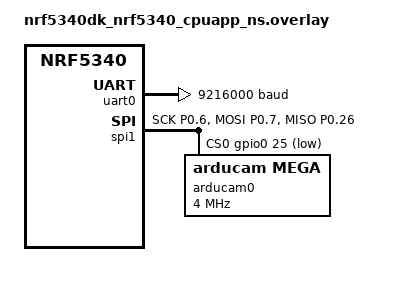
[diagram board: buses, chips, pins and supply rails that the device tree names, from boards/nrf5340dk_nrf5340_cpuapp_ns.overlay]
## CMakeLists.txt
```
cmake_minimum_required(VERSION 3.20.0)
# Add before find_package(Zephyr ...)
list(APPEND ZEPHYR_EXTRA_MODULES C:/ncs/v3.2.0/modules/arducam2)  # Replace with your exact path; use forward slashes for CMake compatibility
find_package(Zephyr REQUIRED HINTS $ENV{ZEPHYR_BASE})
project(arducam_mega_sample)
# -------------------------
# Suppress macro expansion notes
# -------------------------
add_compile_options(
    -fno-diagnostics-show-note-include-stack
    -fno-diagnostics-show-caret
    -fno-diagnostics-show-option
)
FILE(GLOB app_sources src/*.c)
target_sources(app PRIVATE ${app_sources})
target_include_directories(app PRIVATE include)
```

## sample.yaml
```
sample:
  name: Arducam Mega Full Featured

common:
  sysbuild: true
  build_only: true
  skip: false
  platform_exclude:
    - native_sim

tests:
  drivers.video.arducam_nord.build:
    tags:
      - video
      - camera
      - drivers
      - sysbuild

    platform_allow:
      - nrf5340dk_nrf5340/cpuapp

    integration_platforms:
      - nrf5340dk_nrf5340/cpuapp

    extra_args:
      - CONF_FILE=boards/nrf5340dk_nrf5340_cpuapp.conf
      - DTC_OVERLAY_FILE=boards/nrf5340_nrf5340_cpuapp.overlay
      - -DSHIELD=nrf7002ek
```

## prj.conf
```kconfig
# Your base logging and console (unchanged)
CONFIG_LOG=y
CONFIG_LOG_DEFAULT_LEVEL=3
CONFIG_CONSOLE=y
CONFIG_UART_CONSOLE=y
CONFIG_SERIAL=y
CONFIG_UART_ASYNC_API=y
CONFIG_UART_INTERRUPT_DRIVEN=y

# Your video config (unchanged; optimized for ARDUCAM)
CONFIG_VIDEO=y
CONFIG_VIDEO_ARDUCAM_MEGA=y
CONFIG_VIDEO_INIT_PRIORITY=72
CONFIG_VIDEO_BUFFER_POOL_SZ_MAX=2048
CONFIG_VIDEO_BUFFER_POOL_NUM_MAX=3

# SPI (unchanged; used by ARDUCAM and nRF7002 shield)
CONFIG_SPI=y

# Wi-Fi and Networking additions (for nRF7002 EK shield + UDP streaming)
CONFIG_NETWORKING=y
CONFIG_NET_IPV4=y  # IPv4 for simple UDP
CONFIG_NET_UDP=y   # UDP for low-latency frame sends
CONFIG_NET_SOCKETS=y  # Socket API in Wi-Fi thread
CONFIG_NET_L2_WIFI_MGMT=y  # Wi-Fi link layer
CONFIG_WIFI=y
CONFIG_NRF_WIFI=y  # nRF Wi-Fi driver
CONFIG_NRF700X=y   # nRF7002 chip
CONFIG_NRF700X_RADIO_COEX_1_WIRE=y  # Coex mode for EK shield
CONFIG_NRF700X_UTIL=y  # Init utils
CONFIG_WIFI_MGMT=y  # Management for connect/scan
CONFIG_NET_MGMT=y
CONFIG_NET_MGMT_EVENT=y  # Events for connect callback
CONFIG_NET_MGMT_EVENT_INFO=y  # Event details

# Optional: IP config (static for testing; use DHCP if preferred)
CONFIG_NET_CONFIG_SETTINGS=y
CONFIG_NET_CONFIG_MY_IPV4_ADDR="192.168.1.101"  # Board IP
CONFIG_NET_CONFIG_MY_IPV4_NETMASK="255.255.255.0"
CONFIG_NET_CONFIG_MY_IPV4_GW="192.168.1.1"  # Router

# Debug additions (optional; remove for prod to save space)
CONFIG_NET_LOG=y
CONFIG_WIFI_MGMT_LOG_LEVEL_DBG=y  # Wi-Fi debug logs
```

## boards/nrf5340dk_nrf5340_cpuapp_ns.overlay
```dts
&i2c0 {	status = "disabled";};
&spi0 {	status = "disabled";};
&i2c1 {	status = "disabled";};

&uart0 {
    status = "okay";   /* console / logging */
    current-speed = <9216000>;
};
	
&spi1 {
    compatible = "nordic,nrf-spim";
	status = "okay";
	pinctrl-0 = <&spi1_default>;
	pinctrl-1 = <&spi1_sleep>;
	pinctrl-names = "default", "sleep";
	   cs-gpios = <&gpio0 25 GPIO_ACTIVE_LOW>;

 arducam0: arducam@0 {
        compatible = "arducam,mega";
        reg = <0>;
        spi-max-frequency = <4000000>;
        status = "okay";
    
     
};
};
&pinctrl {
	spi1_default: spi1_default {
		group1 {
				psels = <NRF_PSEL(SPIM_SCK, 0, 6)>,
						<NRF_PSEL(SPIM_MOSI, 0, 7)>,
						<NRF_PSEL(SPIM_MISO, 0, 26)>;
		};
	};

	spi1_sleep: spi1_sleep {
		group1 {
				psels = <NRF_PSEL(SPIM_SCK, 0, 6)>,
						<NRF_PSEL(SPIM_MOSI, 0, 7)>,
						<NRF_PSEL(SPIM_MISO, 0, 26)>;
				low-power-enable;
		};
	};
};
```

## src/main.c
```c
/**
 * Copyright (c) 2023 Arducam Technology Co., Ltd. <www.arducam.com>
 *
 * SPDX-License-Identifier: Apache-2.0
 */

#include <zephyr/device.h>
#include <zephyr/kernel.h>
#include <zephyr/sys/mem_manage.h>
#include <drivers/video.h>
#include <drivers/video/arducam_mega.h>

#include <zephyr/drivers/uart.h>

#define LOG_LEVEL CONFIG_LOG_DEFAULT_LEVEL
#include <zephyr/logging/log.h>
LOG_MODULE_REGISTER(main);

#define RESET_CAMERA             0XFF
#define SET_PICTURE_RESOLUTION   0X01
#define SET_VIDEO_RESOLUTION     0X02
#define SET_BRIGHTNESS           0X03
#define SET_CONTRAST             0X04
#define SET_SATURATION           0X05
#define SET_EV                   0X06
#define SET_WHITEBALANCE         0X07
#define SET_SPECIAL_EFFECTS      0X08
#define SET_FOCUS_ENABLE         0X09
#define SET_EXPOSURE_GAIN_ENABLE 0X0A
#define SET_WHITE_BALANCE_ENABLE 0X0C
#define SET_MANUAL_GAIN          0X0D
#define SET_MANUAL_EXPOSURE      0X0E
#define GET_CAMERA_INFO          0X0F
#define TAKE_PICTURE             0X10
#define SET_SHARPNESS            0X11
#define DEBUG_WRITE_REGISTER     0X12
#define STOP_STREAM              0X21
#define GET_FRM_VER_INFO         0X30
#define GET_SDK_VER_INFO         0X40
#define SET_IMAGE_QUALITY        0X50
#define SET_LOWPOWER_MODE        0X60

#define MSG_SIZE 12

#define NUM_BUFFERS 3
#define MAX_SPI_BURST 4096
#define DMA_BUF_SIZE  (MAX_SPI_BURST + 8)



/* NUM_BUFFERS x DMA_BUF_SIZE buffer pool */
static uint8_t dma_bufs[NUM_BUFFERS][DMA_BUF_SIZE] __aligned(4) __noinit;

/* Video buffer structs */
struct video_buffer video_buffers[NUM_BUFFERS];
/* queue to store up to 10 messages (aligned to 4-byte boundary) */
K_MSGQ_DEFINE(uart_msgq, MSG_SIZE, 10, 4);

const struct device *console;
const struct device *video;
struct video_buffer *vbuf;

volatile uint8_t preview_on;
volatile uint8_t capture_flag;

void serial_cb(const struct device *dev, void *user_data);

const uint32_t pixel_format_table[] = {
	VIDEO_PIX_FMT_JPEG,
	VIDEO_PIX_FMT_RGB565,
	VIDEO_PIX_FMT_YUYV,
};

const uint16_t resolution_table[][2] = {
	{160, 120},  {320, 240},   {640, 480},   {800, 600},   {1280, 720},
	{1280, 960}, {1600, 1200}, {1920, 1080}, {2048, 1536}, {2592, 1944},
	{96, 96},    {128, 128},   {320, 320},
};

const uint8_t resolution_num = sizeof(resolution_table) / 4;

static uint8_t current_resolution;
static uint8_t take_picture_fmt = 0x1a;

int set_mega_resolution(uint8_t sfmt)
{
	uint8_t resolution = sfmt & 0x0f;
	uint8_t pixelformat = (sfmt & 0x70) >> 4;

	if (resolution > resolution_num || pixelformat > 3) {
		return -1;
	}
	struct video_format fmt = {.width = resolution_table[resolution][0],
				   .height = resolution_table[resolution][1],
				   .pixelformat = pixel_format_table[pixelformat - 1]};
	current_resolution = resolution;
	return video_set_format(video, VIDEO_EP_OUT, &fmt);
}

void uart_buffer_send(const struct device *dev, uint8_t *buffer, uint32_t length)
{
	for (uint32_t i = 0; i < length; i++) {
		uart_poll_out(dev, buffer[i]);
	}
}

static uint8_t head_and_tail[] = {0xff, 0xaa, 0x00, 0xff, 0xbb};

void uart_packet_send(uint8_t type, uint8_t *buffer, uint32_t length)
{
	head_and_tail[2] = type;
	uart_buffer_send(console, &head_and_tail[0], 3);
	uart_buffer_send(console, (uint8_t *)&length, 4);
	uart_buffer_send(console, buffer, length);
	uart_buffer_send(console, &head_and_tail[3], 2);
}

int take_picture(void)
{
	int err;
	enum video_frame_fragmented_status f_status;

	err = video_dequeue(video, VIDEO_EP_OUT, &vbuf, K_FOREVER);
	if (err) {
		LOG_ERR("Unable to dequeue video buf");
		return -1;
	}

	f_status = vbuf->flags;

	head_and_tail[2] = 0x01;
	uart_buffer_send(console, &head_and_tail[0], 3);
	uart_buffer_send(console, (uint8_t *)&vbuf->bytesframe, 4);
	uart_poll_out(console, ((current_resolution & 0x0f) << 4) | 0x01);

	uart_buffer_send(console, vbuf->buffer, vbuf->bytesused);

	video_enqueue(video, VIDEO_EP_OUT, vbuf);
	while (f_status == VIDEO_BUF_FRAG) {
		video_dequeue(video, VIDEO_EP_OUT, &vbuf, K_FOREVER);
		f_status = vbuf->flags;
		uart_buffer_send(console, vbuf->buffer, vbuf->bytesused);
		video_enqueue(video, VIDEO_EP_OUT, vbuf);
	}
	uart_buffer_send(console, &head_and_tail[3], 2);

	return 0;
}

void video_preview(void)
{
	int err;
	enum video_frame_fragmented_status f_status;

	if (!preview_on) {
		return;
	}

	err = video_dequeue(video, VIDEO_EP_OUT, &vbuf, K_FOREVER);
	if (err) {
		LOG_ERR("Unable to dequeue video buf");
		return;
	}

	f_status = vbuf->flags;

	if (capture_flag == 1) {
		capture_flag = 0;
		head_and_tail[2] = 0x01;
		uart_buffer_send(console, &head_and_tail[0], 3);
		uart_buffer_send(console, (uint8_t *)&vbuf->bytesframe, 4);
		uart_poll_out(console, ((current_resolution & 0x0f) << 4) | 0x01);
	}

	uart_buffer_send(console, vbuf->buffer, vbuf->bytesused);

	if (f_status == VIDEO_BUF_EOF) {
		uart_buffer_send(console, &head_and_tail[3], 2);
		capture_flag = 1;
	}

	err = video_enqueue(video, VIDEO_EP_OUT, vbuf);
	if (err) {
		LOG_ERR("Unable to requeue video buf");
		return;
	}
}

int report_mega_info(void)
{
	char str_buf[400];
	uint32_t str_len;
	char *mega_type;
	struct arducam_mega_info mega_info;

	video_get_ctrl(video, VIDEO_CID_ARDUCAM_INFO, &mega_info);

	switch (mega_info.camera_id) {
	case ARDUCAM_SENSOR_3MP_1:
	case ARDUCAM_SENSOR_3MP_2:
		mega_type = "3MP";
		break;
	case ARDUCAM_SENSOR_5MP_1:
		mega_type = "5MP";
		break;
	case ARDUCAM_SENSOR_5MP_2:
		mega_type = "5MP_2";
		break;
	default:
		return -ENODEV;
	}

	sprintf(str_buf,
		"ReportCameraInfo\r\nCamera Type:%s\r\n"
		"Camera Support Resolution:%d\r\nCamera Support "
		"special effects:%d\r\nCamera Support Focus:%d\r\n"
		"Camera Exposure Value Max:%ld\r\nCamera Exposure Value "
		"Min:%d\r\nCamera Gain Value Max:%d\r\nCamera Gain Value "
		"Min:%d\r\nCamera Support Sharpness:%d\r\n",
		mega_type, mega_info.support_resolution, mega_info.support_special_effects,
		mega_info.enable_focus, mega_info.exposure_value_max, mega_info.exposure_value_min,
		mega_info.gain_value_max, mega_info.gain_value_min, mega_info.enable_sharpness);
	str_len = strlen(str_buf);
	uart_packet_send(0x02, str_buf, str_len);
	return 0;
}

uint8_t recv_process(uint8_t *buff)
{
	switch (buff[0]) {
	case SET_PICTURE_RESOLUTION:
		if (set_mega_resolution(buff[1]) == 0) {
			take_picture_fmt = buff[1];
		}
		break;
	case SET_VIDEO_RESOLUTION:
		if (preview_on == 0) {
			set_mega_resolution(buff[1] | 0x10);
			video_stream_start(video);
			capture_flag = 1;
		}
		preview_on = 1;
		break;
	case SET_BRIGHTNESS:
		video_set_ctrl(video, VIDEO_CID_CAMERA_BRIGHTNESS, &buff[1]);
		break;
	case SET_CONTRAST:
		video_set_ctrl(video, VIDEO_CID_CAMERA_CONTRAST, &buff[1]);
		break;
	case SET_SATURATION:
		video_set_ctrl(video, VIDEO_CID_CAMERA_SATURATION, &buff[1]);
		break;
	case SET_EV:
		video_set_ctrl(video, VIDEO_CID_ARDUCAM_EV, &buff[1]);
		break;
	case SET_WHITEBALANCE:
		video_set_ctrl(video, VIDEO_CID_CAMERA_WHITE_BAL, &buff[1]);
		break;
	case SET_SPECIAL_EFFECTS:
		video_set_ctrl(video, VIDEO_CID_ARDUCAM_COLOR_FX, &buff[1]);
		break;
	case SET_EXPOSURE_GAIN_ENABLE:
		video_set_ctrl(video, VIDEO_CID_CAMERA_EXPOSURE_AUTO, &buff[1]);
		video_set_ctrl(video, VIDEO_CID_CAMERA_GAIN_AUTO, &buff[1]);
	case SET_WHITE_BALANCE_ENABLE:
		video_set_ctrl(video, VIDEO_CID_CAMERA_WHITE_BAL_AUTO, &buff[1]);
		break;
	case SET_SHARPNESS:
		video_set_ctrl(video, VIDEO_CID_ARDUCAM_SHARPNESS, &buff[1]);
		break;
	case SET_MANUAL_GAIN:
		uint16_t gain_value = (buff[1] << 8) | buff[2];

		video_set_ctrl(video, VIDEO_CID_CAMERA_GAIN, &gain_value);
		break;
	case SET_MANUAL_EXPOSURE:
		uint32_t exposure_value = (buff[1] << 16) | (buff[2] << 8) | buff[3];

		video_set_ctrl(video, VIDEO_CID_CAMERA_EXPOSURE, &exposure_value);
		break;
	case GET_CAMERA_INFO:
		report_mega_info();
		break;
	case TAKE_PICTURE:
		video_stream_start(video);
		take_picture();
		video_stream_stop(video);
		break;
	case STOP_STREAM:
		if (preview_on) {
			uart_buffer_send(console, &head_and_tail[3], 2);
			video_stream_stop(video);
			set_mega_resolution(take_picture_fmt);
		}
		preview_on = 0;
		break;
	case RESET_CAMERA:
		video_set_ctrl(video, VIDEO_CID_ARDUCAM_RESET, NULL);
		break;
	case SET_IMAGE_QUALITY:
		video_set_ctrl(video, VIDEO_CID_JPEG_COMPRESSION_QUALITY, &buff[1]);
		break;
	case SET_LOWPOWER_MODE:
		video_set_ctrl(video, VIDEO_CID_ARDUCAM_LOWPOWER, &buff[1]);
		break;
	default:
		break;
	}

	return buff[0];
}

uint8_t uart_available(uint8_t *p)
{
	return k_msgq_get(&uart_msgq, p, K_NO_WAIT);
}

int main(void)
{
	uint8_t recv_buffer[12] = {0};

	int i = 0;

	console = DEVICE_DT_GET(DT_CHOSEN(zephyr_console));
	if (!device_is_ready(console)) {
		LOG_ERR("%s: device not ready.", console->name);
		return -1;
	}
	uart_irq_callback_user_data_set(console, serial_cb, NULL);
	uart_irq_rx_enable(console);

	video = DEVICE_DT_GET(DT_NODELABEL(arducam0));

	if (!device_is_ready(video)) {
		LOG_ERR("Video device %s not ready.", video->name);
		return -1;
	}

 /* Initialize video buffers and enqueue */
    for (i = 0; i < NUM_BUFFERS; i++) {
        video_buffers[i].buffer  = dma_bufs[i];
        video_buffers[i].size =  DMA_BUF_SIZE;
        video_enqueue(video, VIDEO_EP_OUT, &video_buffers[i]);
    }

	LOG_INF("Mega star");

	printk("- Device name: %s\n", video->name);

	while (1) {
		if (!uart_available(recv_buffer)) {
			recv_process(recv_buffer);
		}
		video_preview();
		k_msleep(1);
	}
	return 0;
}

/* receive buffer used in UART ISR callback */
static char rx_buf[MSG_SIZE];
static int rx_buf_pos;

/*
 * Read characters from UART until line end is detected. Afterwards push the
 * data to the message queue.
 */
void serial_cb(const struct device *dev, void *user_data)
{
	uint8_t c;

	if (!uart_irq_update(dev)) {
		return;
	}

	if (!uart_irq_rx_ready(dev)) {
		return;
	}

	/* read until FIFO empty */
	while (uart_fifo_read(dev, &c, 1) == 1) {
		if (c == 0xAA && rx_buf_pos > 0) {
			k_msgq_put(&uart_msgq, &rx_buf, K_NO_WAIT);
			rx_buf_pos = 0;
		} else if (c == 0x55) {
			rx_buf_pos = 0;
		} else {
			rx_buf[rx_buf_pos] = c;
			if (++rx_buf_pos >= MSG_SIZE) {
				rx_buf_pos = 0;
			}
		}
	}
}
```
